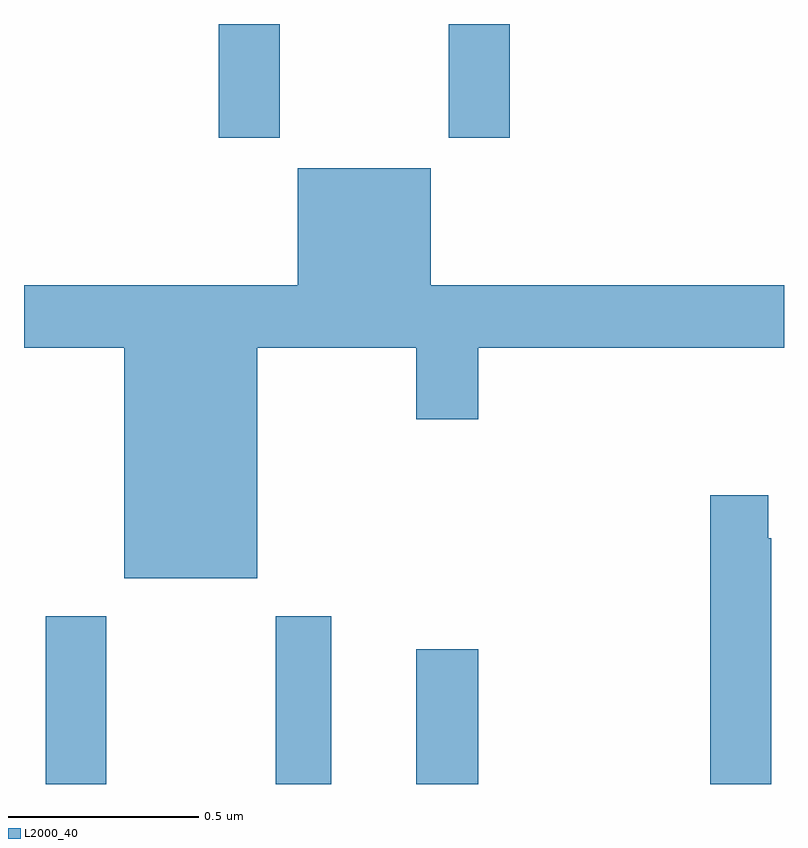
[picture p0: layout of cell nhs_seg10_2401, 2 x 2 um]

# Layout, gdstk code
import gdstk
lib = gdstk.Library(unit=1e-6, precision=1e-09)
def R(c, l, rs):  # rectangles x0, y0, x1, y1
    for r in rs: c.add(gdstk.rectangle(r[:2], r[2:], *l))
def P(c, l, *ps):  # polygons
    for p in ps: c.add(gdstk.Polygon(p, *l))
L2000_40 = (2000, 40)

nhs_seg10_2401 = lib.new_cell('nhs_seg10_2401')
R(nhs_seg10_2401, L2000_40, [(140.057,1300.5,140.217,1300.942), (140.662,1300.5,140.809,1300.942), (141.032,1300.5,141.196,1300.855), (140.513,1302.201,140.673,1302.5), (141.118,1302.201,141.278,1302.5)])
P(nhs_seg10_2401, L2000_40, [(140.614,1301.648),(141.032,1301.648),(141.032,1301.46),(141.196,1301.46),(141.196,1301.648),(142,1301.648),(142,1301.812),(141.07,1301.812),(141.07,1302.121),(140.72,1302.121),(140.72,1301.812),(140,1301.812),(140,1301.648),(140.264,1301.648),(140.264,1301.042),(140.614,1301.042)],
  [(141.966,1301.147),(141.959,1301.147),(141.959,1301.26),(141.806,1301.26),(141.806,1300.5),(141.966,1300.5)])

lib.write_gds('nhs_seg10_2401.gds')
